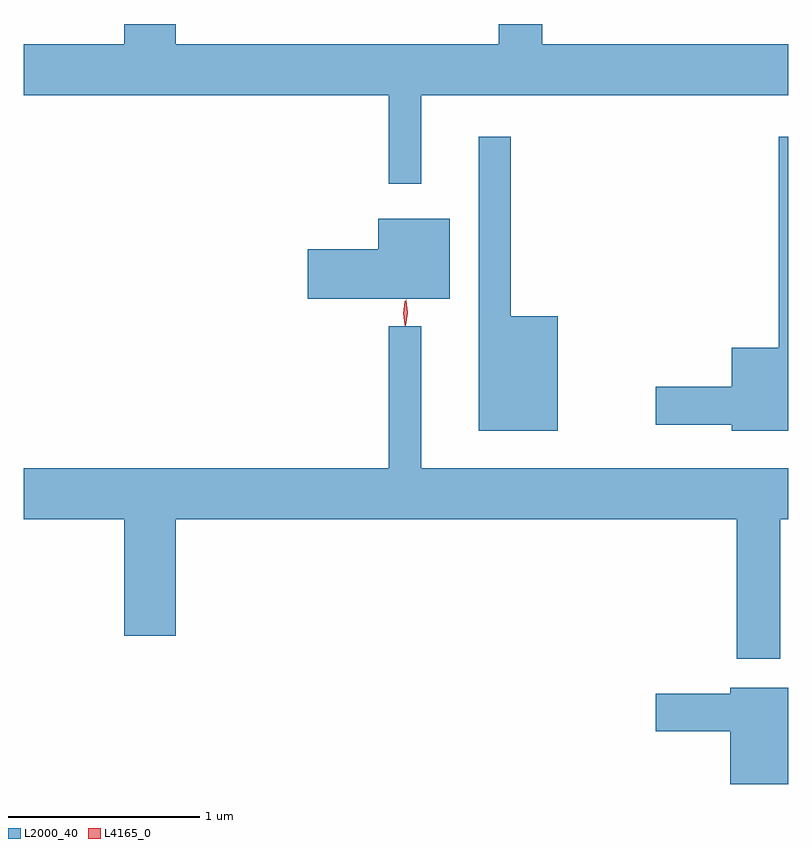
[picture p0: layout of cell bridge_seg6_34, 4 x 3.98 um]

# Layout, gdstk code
import gdstk
lib = gdstk.Library(unit=1e-6, precision=1e-09)
def P(c, l, *ps):  # polygons
    for p in ps: c.add(gdstk.Polygon(p, *l))
L2000_40 = (2000, 40)
L4165_0 = (4165, 0)

bridge_seg6_34 = lib.new_cell('bridge_seg6_34')
P(bridge_seg6_34, L2000_40, [(1774.901,1667.233),(1775.069,1667.233),(1775.069,1667.696),(1776.99,1667.696),(1776.99,1667.964),(1775.704,1667.964),(1775.704,1668.069),(1775.476,1668.069),(1775.476,1667.964),(1773.784,1667.964),(1773.784,1668.069),(1773.516,1668.069),(1773.516,1667.964),(1772.99,1667.964),(1772.99,1667.696),(1774.901,1667.696)],
  [(1776.99,1667.478),(1776.941,1667.478),(1776.941,1666.374),(1776.696,1666.374),(1776.696,1666.169),(1776.296,1666.169),(1776.296,1665.971),(1776.696,1665.971),(1776.696,1665.941),(1776.99,1665.941)],
  [(1775.784,1666.539),(1775.539,1666.539),(1775.539,1667.478),(1775.371,1667.478),(1775.371,1665.941),(1775.784,1665.941)],
  [(1775.219,1667.049),(1774.846,1667.049),(1774.846,1666.889),(1774.476,1666.889),(1774.476,1666.631),(1775.219,1666.631)],
  [(1776.949,1665.476),(1776.99,1665.476),(1776.99,1665.744),(1775.069,1665.744),(1775.069,1666.488),(1774.901,1666.488),(1774.901,1665.744),(1772.99,1665.744),(1772.99,1665.476),(1773.516,1665.476),(1773.516,1664.866),(1773.784,1664.866),(1773.784,1665.476),(1776.721,1665.476),(1776.721,1664.746),(1776.949,1664.746)],
  [(1776.99,1664.594),(1776.686,1664.594),(1776.686,1664.564),(1776.296,1664.564),(1776.296,1664.366),(1776.686,1664.366),(1776.686,1664.091),(1776.99,1664.091)])
P(bridge_seg6_34, L4165_0, [(1774.988,1666.49),(1774.988,1666.49),(1774.979,1666.558),(1774.99,1666.626),(1774.99,1666.626),(1774.99,1666.626),(1774.999,1666.558),(1774.989,1666.49)],
  [(1774.984,1666.493),(1774.975,1666.556),(1774.984,1666.619),(1774.985,1666.62),(1774.985,1666.619),(1774.995,1666.556),(1774.985,1666.493),(1774.985,1666.493)])

lib.write_gds('bridge_seg6_34.gds')
